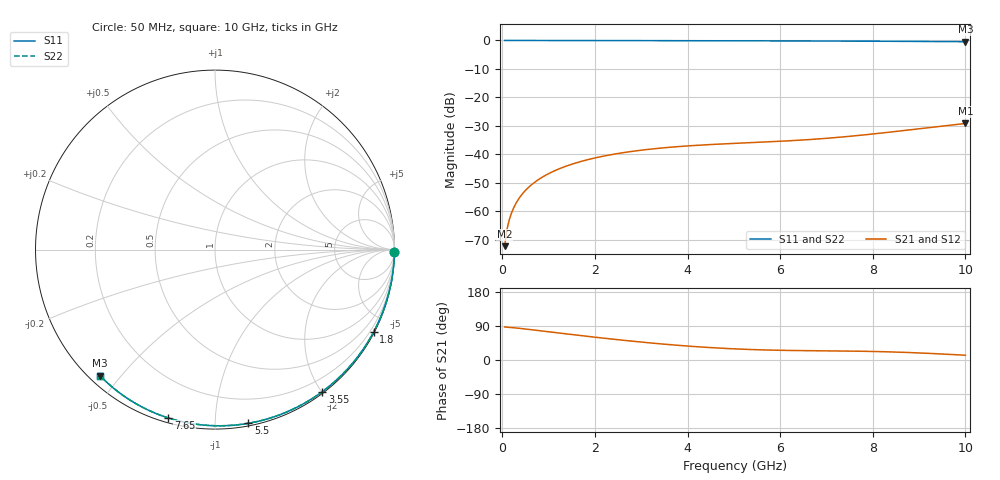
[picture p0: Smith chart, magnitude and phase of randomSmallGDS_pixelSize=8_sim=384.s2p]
! freq	dB(S11)	phase(S11)	dB(S12)	phase(S12)
!  dB(S21)	phase(S21)	dB(S22)	phase(S22)
!S-par simulation data
#  GHz  S  DB  R 50
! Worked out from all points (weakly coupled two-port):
!   200 points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, 50 MHz to 10 GHz, reference 50 ohm
!   highest |S21| = -29.13 dB at 10 GHz (marker M1); lowest = -72.2 dB at 50 MHz (marker M2)
!   lowest |S11| = -0.4 dB at 10 GHz (marker M3), VSWR 39.62, Z = 1.51 - j22.1 ohm
!   |S11| at or under -10 dB: nowhere
!   |S22| runs from -0.4 to 0.0 dB; largest |S21 - S12| = 0
!   S11 on the Smith chart (normalised r, x): 50 MHz: open; 1.8 GHz: 0.04, -4.09; 3.55 GHz: 0.02, -2.01; 5.5 GHz: 0.02, -1.21; 7.65 GHz: 0.02, -0.76; 10 GHz: 0.03, -0.44
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0.05  -0.00 -0.8  -72.20 87.4  -72.20 87.4  -0.00 -0.8
0.1  -0.00 -1.6  -66.38 86.6  -66.38 86.6  -0.00 -1.6
0.15  -0.00 -2.3  -62.95 86.2  -62.95 86.2  -0.00 -2.3
0.2  -0.00 -3.1  -60.50 85.7  -60.50 85.7  -0.00 -3.1
0.25  -0.00 -3.9  -58.59 85.1  -58.59 85.1  -0.00 -3.9
0.35  -0.00 -5.4  -55.70 83.9  -55.70 83.9  -0.00 -5.4
0.5  -0.01 -7.7  -52.63 81.8  -52.63 81.8  -0.01 -7.7
0.7  -0.01 -10.8  -49.76 78.9  -49.76 78.9  -0.01 -10.8
1  -0.02 -15.4  -46.75 74.5  -46.75 74.5  -0.02 -15.4
1.35  -0.03 -20.7  -44.28 69.4  -44.28 69.4  -0.03 -20.7
1.75  -0.03 -26.7  -42.24 63.7  -42.24 63.7  -0.03 -26.7
1.8  -0.03 -27.5  -42.03 63.0  -42.03 63.0  -0.03 -27.4
2.5  -0.05 -37.8  -39.66 53.5  -39.66 53.5  -0.05 -37.8
3.4  -0.07 -50.8  -37.81 42.8  -37.81 42.8  -0.07 -50.7
3.55  -0.07 -52.9  -37.58 41.2  -37.58 41.2  -0.07 -52.9
4.3  -0.09 -63.2  -36.71 34.2  -36.71 34.2  -0.09 -63.2
5.05  -0.11 -73.3  -36.09 29.2  -36.09 29.2  -0.11 -73.3
5.5  -0.13 -79.1  -35.77 27.1  -35.77 27.1  -0.13 -79.1
6.7  -0.18 -94.2  -34.71 24.5  -34.71 24.5  -0.18 -94.1
7.65  -0.24 -105.6  -33.41 23.3  -33.41 23.3  -0.24 -105.5
8.35  -0.29 -113.7  -32.21 21.5  -32.21 21.5  -0.29 -113.6
10  -0.44 -132.3  -29.13 12.5  -29.13 12.5  -0.44 -132.3
